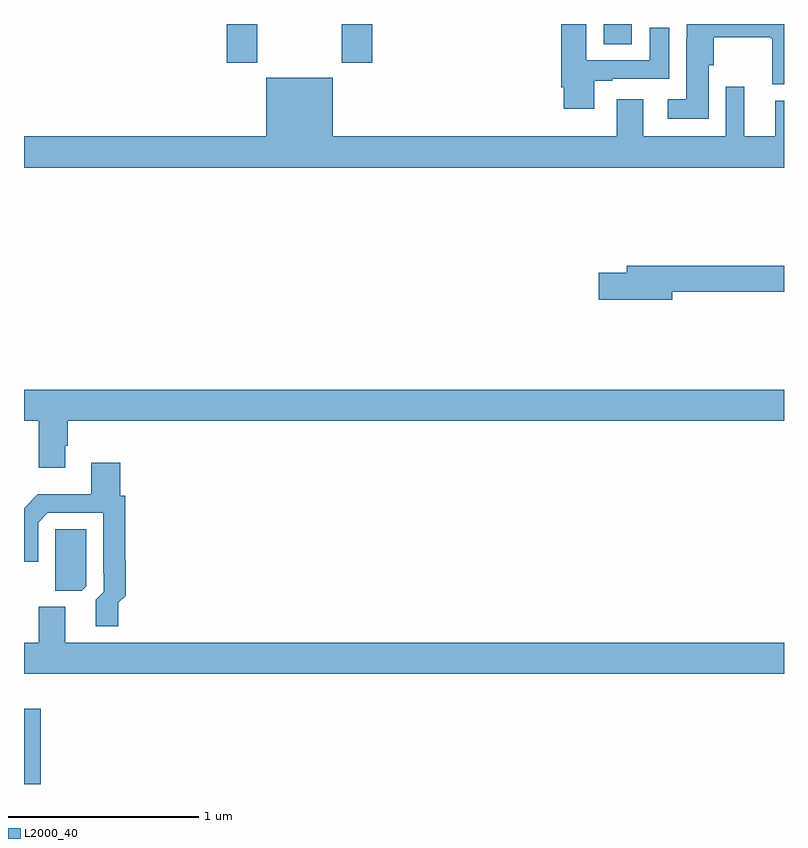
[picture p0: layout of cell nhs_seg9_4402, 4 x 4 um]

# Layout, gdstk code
import gdstk
lib = gdstk.Library(unit=1e-6, precision=1e-09)
def R(c, l, rs):  # rectangles x0, y0, x1, y1
    for r in rs: c.add(gdstk.rectangle(r[:2], r[2:], *l))
def P(c, l, *ps):  # polygons
    for p in ps: c.add(gdstk.Polygon(p, *l))
L2000_40 = (2000, 40)

nhs_seg9_4402 = lib.new_cell('nhs_seg9_4402')
R(nhs_seg9_4402, L2000_40, [(363,1202.5,363.089,1202.896), (364.067,1206.297,364.227,1206.5), (364.672,1206.297,364.832,1206.5), (366.05,1206.394,366.199,1206.5)])
P(nhs_seg9_4402, L2000_40, [(366.604,1206.282),(366.63,1206.282),(366.63,1206.431),(366.931,1206.431),(366.931,1206.424),(366.938,1206.424),(366.938,1206.182),(367,1206.182),(367,1206.5),(366.489,1206.5),(366.489,1206.422),(366.485,1206.422),(366.485,1206.103),(366.387,1206.103),(366.387,1206.002),(366.604,1206.002)],
  [(366.001,1206.201),(366.097,1206.201),(366.097,1206.213),(366.397,1206.213),(366.397,1206.481),(366.293,1206.481),(366.293,1206.309),(365.959,1206.309),(365.959,1206.5),(365.828,1206.5),(365.828,1206.166),(365.84,1206.166),(365.84,1206.054),(366.001,1206.054)],
  [(367,1206.097),(366.953,1206.097),(366.953,1205.908),(366.79,1205.908),(366.79,1206.169),(366.693,1206.169),(366.693,1205.908),(366.259,1205.908),(366.259,1206.103),(366.119,1206.103),(366.119,1205.908),(364.624,1205.908),(364.624,1206.217),(364.274,1206.217),(364.274,1205.908),(363,1205.908),(363,1205.744),(367,1205.744)],
  [(366.412,1205.092),(367,1205.092),(367,1205.228),(366.173,1205.228),(366.173,1205.192),(366.024,1205.192),(366.024,1205.05),(366.412,1205.05)],
  [(363.217,1204.279),(363.23,1204.279),(363.23,1204.412),(367,1204.412),(367,1204.576),(363,1204.576),(363,1204.412),(363.077,1204.412),(363.077,1204.164),(363.217,1204.164)],
  [(363.497,1203.453),(363.536,1203.492),(363.536,1203.674),(363.533,1203.674),(363.533,1204.017),(363.506,1204.017),(363.506,1204.192),(363.353,1204.192),(363.353,1204.024),(363.073,1204.024),(363,1203.951),(363,1203.669),(363.075,1203.669),(363.075,1203.876),(363.126,1203.927),(363.417,1203.927),(363.417,1203.613),(363.42,1203.613),(363.42,1203.513),(363.377,1203.47),(363.377,1203.33),(363.497,1203.33)],
  [(363.327,1203.54),(363.327,1203.842),(363.165,1203.842),(363.165,1203.731),(363.164,1203.731),(363.164,1203.517),(363.303,1203.517)],
  [(367,1203.244),(363.217,1203.244),(363.217,1203.432),(363.077,1203.432),(363.077,1203.244),(363,1203.244),(363,1203.08),(367,1203.08)])

lib.write_gds('nhs_seg9_4402.gds')
